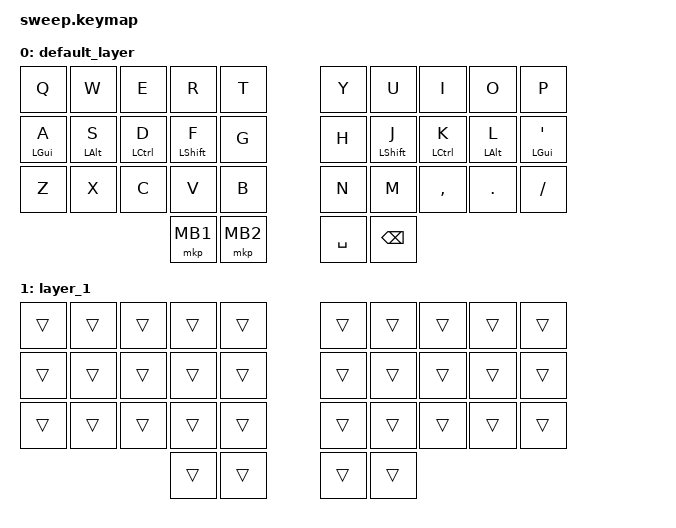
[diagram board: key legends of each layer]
// Copyright (c) 2022 The ZMK Contributors
// SPDX-License-Identifier: MIT

#include <behaviors.dtsi>
#include <dt-bindings/zmk/keys.h>
#include <dt-bindings/zmk/pointing.h>

/ {
    keymap {
        compatible = "zmk,keymap";

        default_layer {
            bindings = <
&kp Q           &kp W           &kp E        &kp R             &kp T       &kp Y      &kp U             &kp I        &kp O           &kp P
&mt LEFT_GUI A  &mt LEFT_ALT S  &mt LCTRL D  &mt LEFT_SHIFT F  &kp G       &kp H      &mt LEFT_SHIFT J  &mt LCTRL K  &mt LEFT_ALT L  &mt LEFT_GUI SQT
&kp Z           &kp X           &kp C        &kp V             &kp B       &kp N      &kp M             &kp COMMA    &kp DOT         &kp FSLH
                                             &mkp MB1          &mkp MB2    &kp SPACE  &kp BSPC
            >;
        };

        layer_1 {
            bindings = <
&trans  &trans  &trans  &trans  &trans    &trans  &trans  &trans  &trans  &trans
&trans  &trans  &trans  &trans  &trans    &trans  &trans  &trans  &trans  &trans
&trans  &trans  &trans  &trans  &trans    &trans  &trans  &trans  &trans  &trans
                        &trans  &trans    &trans  &trans
            >;
        };
    };
};
